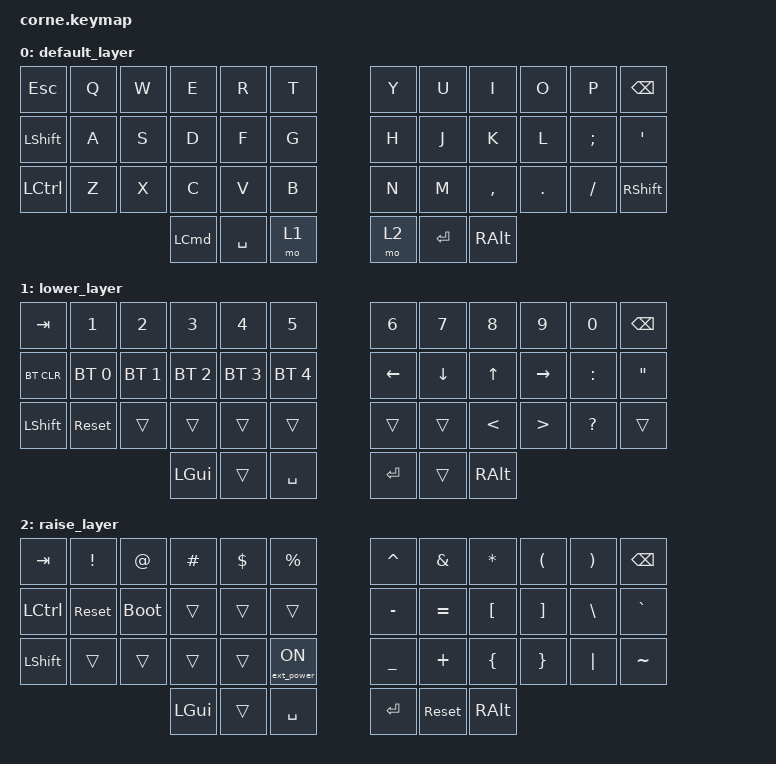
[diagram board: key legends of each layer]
/*
 * Copyright (c) 2020 The ZMK Contributors
 *
 * SPDX-License-Identifier: MIT
 */

#include <behaviors.dtsi>
#include <dt-bindings/zmk/bt.h>
#include <dt-bindings/zmk/ext_power.h>
#include <dt-bindings/zmk/keys.h>

/ {
    keymap {
        compatible = "zmk,keymap";

        default_layer {
            // -----------------------------------------------------------------------------------------
            // |  TAB |  Q  |  W  |  E  |  R  |  T  |   |  Y  |  U   |  I  |  O  |  P  | BSPC |
            // | CTRL |  A  |  S  |  D  |  F  |  G  |   |  H  |  J   |  K  |  L  |  ;  |  '   |
            // | SHFT |  Z  |  X  |  C  |  V  |  B  |   |  N  |  M   |  ,  |  .  |  /  | ESC  |
            //                    | GUI | LWR | SPC |   | ENT | RSE  | ALT |

            bindings = <
&kp ESC           &kp Q  &kp W  &kp E             &kp R      &kp T    &kp Y  &kp U      &kp I          &kp O    &kp P     &kp BSPC
&kp LEFT_SHIFT    &kp A  &kp S  &kp D             &kp F      &kp G    &kp H  &kp J      &kp K          &kp L    &kp SEMI  &kp SQT
&kp LEFT_CONTROL  &kp Z  &kp X  &kp C             &kp V      &kp B    &kp N  &kp M      &kp COMMA      &kp DOT  &kp FSLH  &kp RIGHT_SHIFT
                                &kp LEFT_COMMAND  &kp SPACE  &mo 1    &mo 2  &kp ENTER  &kp RIGHT_ALT
            >;
        };

        lower_layer {
            // -----------------------------------------------------------------------------------------
            // |  TAB |  1  |  2  |  3  |  4  |  5  |   |  6  |  7  |  8  |  9  |  0  | BSPC |
            // | BTCLR| BT1 | BT2 | BT3 | BT4 | BT5 |   | LFT | DWN |  UP | RGT |     |      |
            // | SHFT |     |     |     |     |     |   |     |     |     |     |     |      |
            //                    | GUI |     | SPC |   | ENT |     | ALT |

            bindings = <
&kp TAB     &kp N1        &kp N2        &kp N3        &kp N4        &kp N5          &kp N6    &kp N7    &kp N8         &kp N9     &kp N0        &kp BSPC
&bt BT_CLR  &bt BT_SEL 0  &bt BT_SEL 1  &bt BT_SEL 2  &bt BT_SEL 3  &bt BT_SEL 4    &kp LEFT  &kp DOWN  &kp UP         &kp RIGHT  &kp COLON     &kp DOUBLE_QUOTES
&kp LSHFT   &sys_reset    &trans        &trans        &trans        &trans          &trans    &trans    &kp LESS_THAN  &kp GT     &kp QUESTION  &trans
                                        &kp LGUI      &trans        &kp SPACE       &kp RET   &trans    &kp RALT
            >;
        };

        raise_layer {
            // -----------------------------------------------------------------------------------------
            // |  TAB |  !  |  @  |  #  |  $  |  %  |   |  ^  |  &  |  *  |  (  |  )  | BSPC |
            // | CTRL |     |     |     |     |     |   |  -  |  =  |  [  |  ]  |  \  |  `   |
            // | SHFT |     |     |     |     |     |   |  _  |  +  |  {  |  }  | "|" |  ~   |
            //                    | GUI |     | SPC |   | ENT |     | ALT |

            bindings = <
&kp TAB    &kp EXCL    &kp AT       &kp HASH  &kp DLLR  &kp PRCNT           &kp CARET  &kp AMPS    &kp ASTRK  &kp LPAR  &kp RPAR  &kp BSPC
&kp LCTRL  &sys_reset  &bootloader  &trans    &trans    &trans              &kp MINUS  &kp EQUAL   &kp LBKT   &kp RBKT  &kp BSLH  &kp GRAVE
&kp LSHFT  &trans      &trans       &trans    &trans    &ext_power EP_ON    &kp UNDER  &kp PLUS    &kp LBRC   &kp RBRC  &kp PIPE  &kp TILDE
                                    &kp LGUI  &trans    &kp SPACE           &kp RET    &sys_reset  &kp RALT
            >;
        };
    };
};
